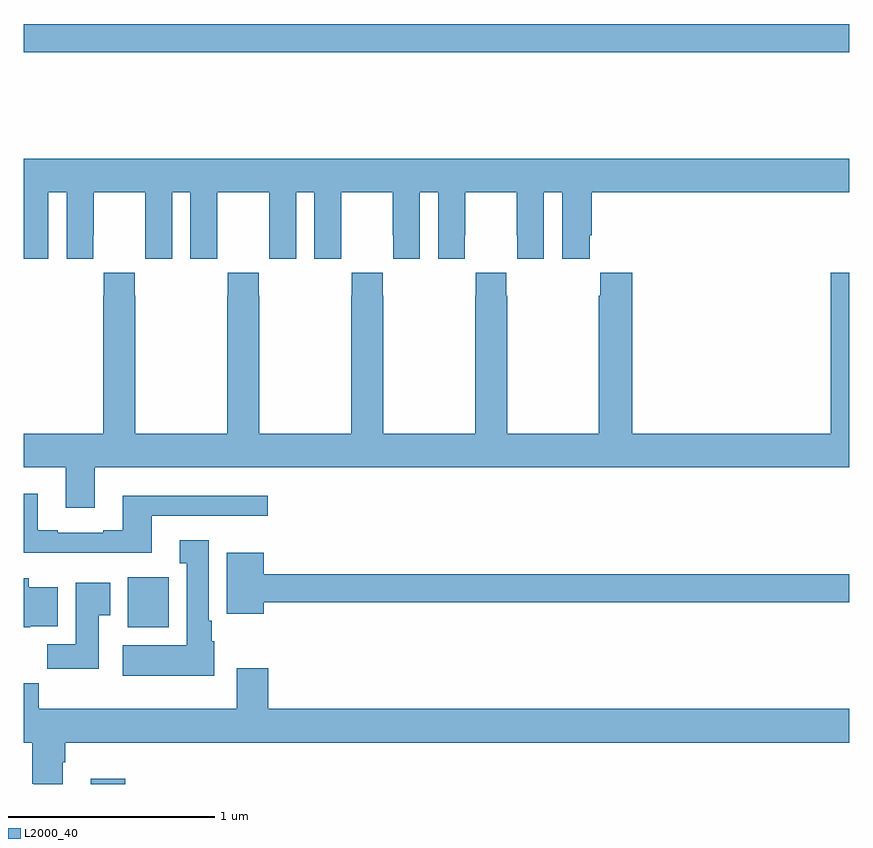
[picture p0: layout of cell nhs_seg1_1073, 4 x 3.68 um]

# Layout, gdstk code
import gdstk
lib = gdstk.Library(unit=1e-6, precision=1e-09)
def R(c, l, rs):  # rectangles x0, y0, x1, y1
    for r in rs: c.add(gdstk.rectangle(r[:2], r[2:], *l))
def P(c, l, *ps):  # polygons
    for p in ps: c.add(gdstk.Polygon(p, *l))
L2000_40 = (2000, 40)

nhs_seg1_1073 = lib.new_cell('nhs_seg1_1073')
R(nhs_seg1_1073, L2000_40, [(169.325,550.199,169.493,550.225), (169.505,550.958,169.702,551.2), (169,553.744,173,553.88)])
P(nhs_seg1_1073, L2000_40, [(169.12,553.064),(169.208,553.064),(169.208,552.744),(169.338,552.744),(169.338,552.856),(169.339,552.856),(169.339,553.064),(169.589,553.064),(169.589,552.856),(169.59,552.856),(169.59,552.744),(169.72,552.744),(169.72,553.064),(169.808,553.064),(169.808,552.744),(169.938,552.744),(169.938,552.856),(169.939,552.856),(169.939,553.064),(170.189,553.064),(170.189,552.856),(170.19,552.856),(170.19,552.744),(170.32,552.744),(170.32,553.064),(170.408,553.064),(170.408,552.744),(170.538,552.744),(170.538,552.856),(170.539,552.856),(170.539,553.064),(170.789,553.064),(170.789,552.856),(170.79,552.856),(170.79,552.744),(170.92,552.744),(170.92,553.064),(171.008,553.064),(171.008,552.744),(171.138,552.744),(171.138,552.856),(171.139,552.856),(171.139,553.064),(171.389,553.064),(171.389,552.856),(171.39,552.856),(171.39,552.744),(171.52,552.744),(171.52,553.064),(171.608,553.064),(171.608,552.744),(171.742,552.744),(171.742,552.856),(171.752,552.856),(171.752,553.064),(173,553.064),(173,553.228),(169,553.228),(169,552.744),(169.12,552.744)],
  [(169.345,551.732),(173,551.732),(173,552.676),(172.91,552.676),(172.91,551.896),(171.947,551.896),(171.947,552.676),(171.793,552.676),(171.793,552.563),(171.787,552.563),(171.787,551.896),(171.342,551.896),(171.342,552.563),(171.339,552.563),(171.339,552.676),(171.189,552.676),(171.189,552.563),(171.187,552.563),(171.187,551.896),(170.742,551.896),(170.742,552.563),(170.739,552.563),(170.739,552.676),(170.589,552.676),(170.589,552.563),(170.587,552.563),(170.587,551.896),(170.142,551.896),(170.142,552.563),(170.139,552.563),(170.139,552.676),(169.989,552.676),(169.989,552.563),(169.987,552.563),(169.987,551.896),(169.542,551.896),(169.542,552.563),(169.539,552.563),(169.539,552.676),(169.389,552.676),(169.389,552.563),(169.387,552.563),(169.387,551.896),(169,551.896),(169,551.732),(169.205,551.732),(169.205,551.538),(169.345,551.538)],
  [(169.621,551.499),(170.182,551.499),(170.182,551.596),(169.481,551.596),(169.481,551.428),(169.385,551.428),(169.385,551.415),(169.165,551.415),(169.165,551.428),(169.069,551.428),(169.069,551.605),(169,551.605),(169,551.318),(169.621,551.318)],
  [(169.924,550.89),(169.912,550.89),(169.912,550.99),(169.897,550.99),(169.897,551.38),(169.757,551.38),(169.757,551.267),(169.79,551.267),(169.79,550.87),(169.481,550.87),(169.481,550.724),(169.924,550.724)],
  [(170.164,551.08),(173,551.08),(173,551.216),(170.164,551.216),(170.164,551.32),(169.985,551.32),(169.985,551.024),(170.164,551.024)],
  [(169.032,550.964),(169.165,550.964),(169.165,551.152),(169.024,551.152),(169.024,551.196),(169,551.196),(169,550.958),(169.032,550.958)],
  [(169.363,551.017),(169.42,551.017),(169.42,551.173),(169.253,551.173),(169.253,550.876),(169.114,550.876),(169.114,550.758),(169.363,550.758)],
  [(169.189,550.304),(169.202,550.304),(169.202,550.4),(173,550.4),(173,550.564),(170.186,550.564),(170.186,550.759),(170.033,550.759),(170.033,550.564),(169.073,550.564),(169.073,550.688),(169,550.688),(169,550.4),(169.042,550.4),(169.042,550.201),(169.049,550.201),(169.049,550.199),(169.189,550.199)])

lib.write_gds('nhs_seg1_1073.gds')
